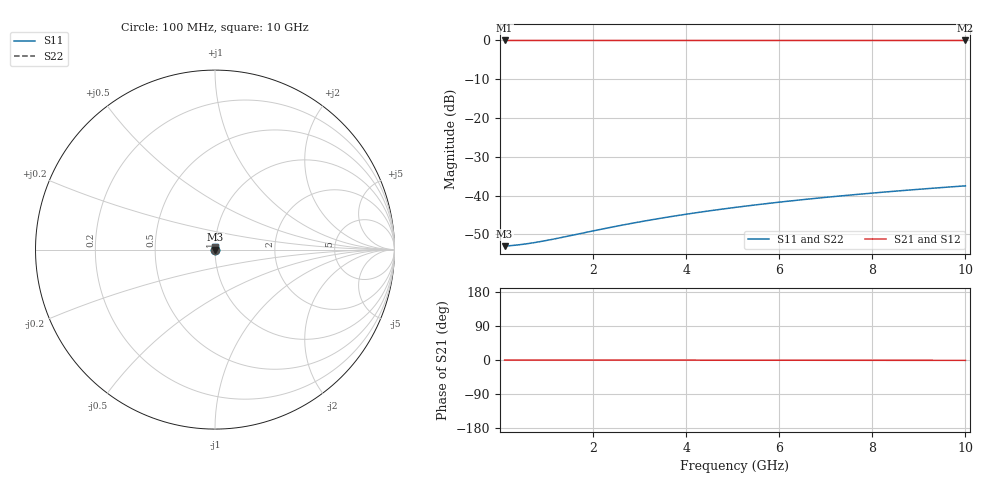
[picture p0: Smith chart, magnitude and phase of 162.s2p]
# Hz S RI R 50.00
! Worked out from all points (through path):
!   100 points, 100 MHz to 10 GHz, reference 50 ohm
!   highest |S21| = -0.02 dB at 100 MHz (marker M1); lowest = 0.0 dB at 10 GHz (marker M2)
!   lowest |S11| = -53.0 dB at 100 MHz (marker M3), VSWR 1.00, Z = 50.2 + j0.0131 ohm
!   |S11| at or under -10 dB: start of sweep to end of sweep
!   |S22| runs from -53.0 to -37.5 dB; largest |S21 - S12| = 0
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1e8  0.00223 0.000131  0.9978 -0.000167  0.9978 -0.000167  0.00223 0.000131
4e8  0.00226 0.000523  0.9977 -0.000668  0.9977 -0.000668  0.00226 0.000523
6e8  0.00228 0.000785  0.9977 -0.001  0.9977 -0.001  0.00228 0.000785
8e8  0.00229 0.00105  0.9977 -0.00134  0.9977 -0.00134  0.00229 0.00105
1e9  0.0023 0.00131  0.9977 -0.00167  0.9977 -0.00167  0.0023 0.00131
1.2e9  0.00231 0.00157  0.9977 -0.002  0.9977 -0.002  0.00231 0.00157
1.8e9  0.00233 0.00235  0.9977 -0.00301  0.9977 -0.00301  0.00233 0.00235
2.2e9  0.00234 0.00288  0.9977 -0.00368  0.9977 -0.00368  0.00234 0.00288
2.6e9  0.00235 0.0034  0.9976 -0.00434  0.9976 -0.00434  0.00235 0.0034
3e9  0.00237 0.00392  0.9976 -0.00501  0.9976 -0.00501  0.00237 0.00392
3.4e9  0.00238 0.00445  0.9976 -0.00568  0.9976 -0.00568  0.00238 0.00445
3.8e9  0.00239 0.00497  0.9976 -0.00635  0.9976 -0.00635  0.00239 0.00497
4.2e9  0.00241 0.00549  0.9976 -0.00702  0.9976 -0.00702  0.00241 0.00549
4.6e9  0.00242 0.00602  0.9976 -0.00769  0.9976 -0.00769  0.00242 0.00602
5.1e9  0.00244 0.00667  0.9976 -0.00852  0.9976 -0.00852  0.00244 0.00667
5.5e9  0.00245 0.00719  0.9975 -0.00919  0.9975 -0.00919  0.00245 0.00719
5.9e9  0.00247 0.00772  0.9975 -0.00986  0.9975 -0.00986  0.00247 0.00772
6.7e9  0.0025 0.00876  0.9975 -0.0112  0.9975 -0.0112  0.0025 0.00876
7.5e9  0.00253 0.00981  0.9975 -0.0125  0.9975 -0.0125  0.00253 0.00981
8.4e9  0.00257 0.011  0.9974 -0.014  0.9974 -0.014  0.00257 0.011
9.2e9  0.00261 0.012  0.9974 -0.0154  0.9974 -0.0154  0.00261 0.012
1e10  0.00265 0.0131  0.9973 -0.0167  0.9973 -0.0167  0.00265 0.0131
